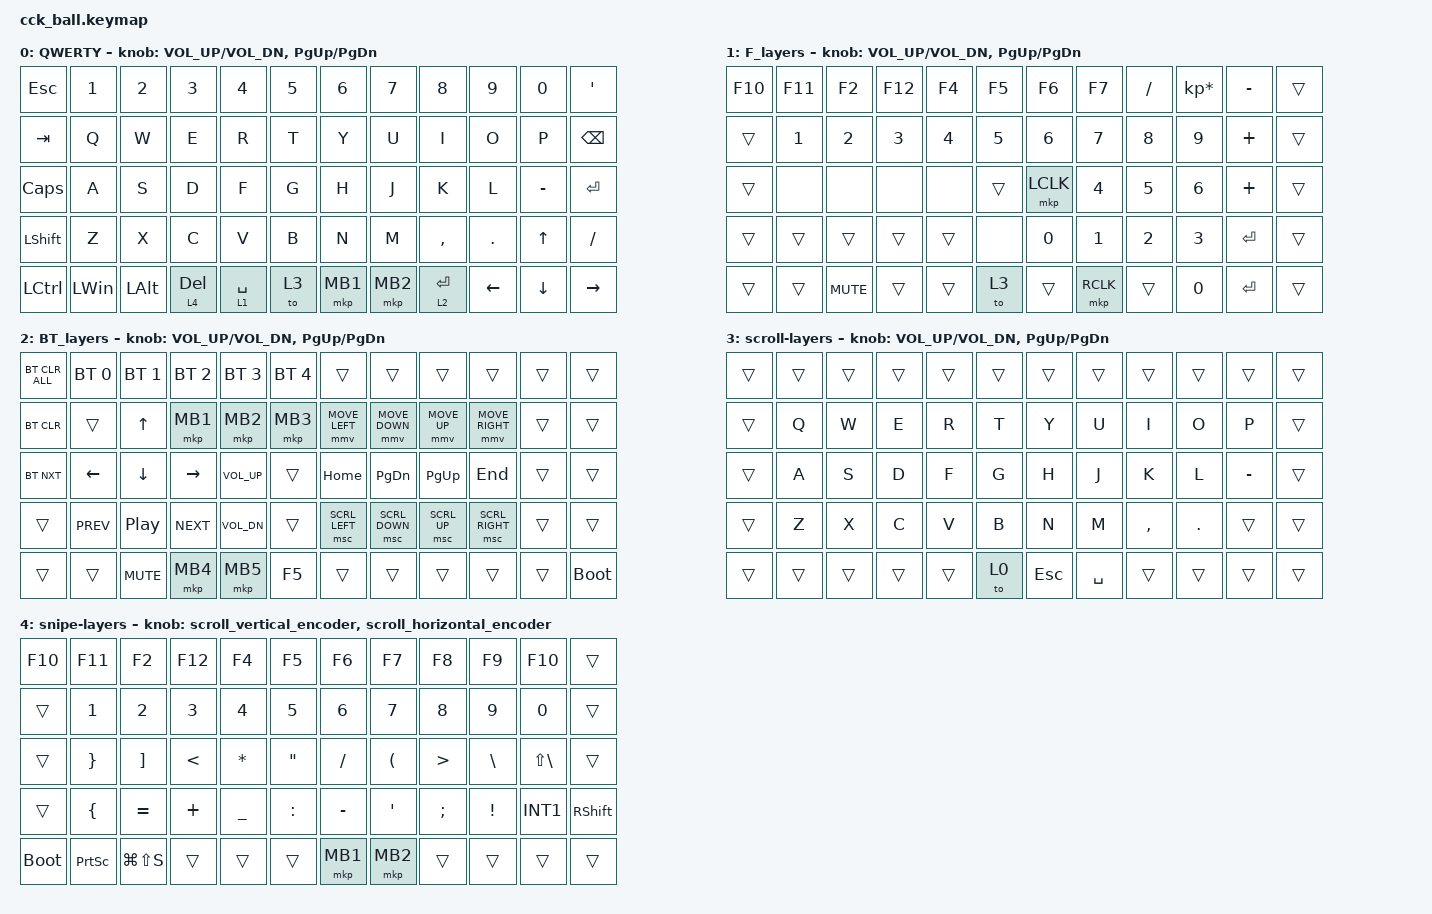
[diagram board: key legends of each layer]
#define ZMK_POINTING_DEFAULT_MOVE_VAL 1000 // 600
#define ZMK_POINTING_DEFAULT_SCRL_VAL 12   // 10

#include <input/processors.dtsi>
#include <zephyr/dt-bindings/input/input-event-codes.h>
#include <behaviors.dtsi>
#include <dt-bindings/zmk/bt.h>
#include <dt-bindings/zmk/keys.h>
#include <dt-bindings/zmk/pointing.h>

&mmv_input_listener { input-processors = <&zip_xy_scaler 2 1>; };

&msc_input_listener { input-processors = <&zip_scroll_scaler 2 1>; };

&msc {
    acceleration-exponent = <0>;      // 0
    time-to-max-speed-ms = <300>;       // 300
    delay-ms = <0>;                   // 0
};

&mmv {
    time-to-max-speed-ms = <500>;
    acceleration-exponent = <1>;
    trigger-period-ms = <16>;
};

&soft_off { hold-time-ms = <2000>; };

/ {
    // 上下滚动编码器行为
    scroll_vertical_encoder: scroll_vertical_encoder {
        compatible = "zmk,behavior-sensor-rotate";
        #sensor-binding-cells = <0>;
        bindings = <&msc SCRL_DOWN>, <&msc SCRL_UP>;
        tap-ms = <100>;
    };

    // 左右滚动编码器行为
    scroll_horizontal_encoder: scroll_horizontal_encoder {
        compatible = "zmk,behavior-sensor-rotate";
        #sensor-binding-cells = <0>;
        bindings = <&msc SCRL_LEFT>, <&msc SCRL_RIGHT>;
        tap-ms = <100>;
    };
    
    behaviors {
    };

    keymap {
        compatible = "zmk,keymap";

        QWERTY {
            bindings = <
&kp ESC           &kp N1        &kp N2        &kp N3      &kp N4     &kp N5  &kp N6  &kp N7     &kp N8     &kp N9          &kp N0          &kp SQT
&kp TAB           &kp Q         &kp W         &kp E       &kp R      &kp T   &kp Y   &kp U      &kp I      &kp O           &kp P           &kp BACKSPACE
&kp CAPSLOCK      &kp A         &kp S         &kp D       &kp F      &kp G   &kp H   &kp J      &kp K      &kp L           &kp MINUS       &kp RETURN
&kp LEFT_SHIFT    &kp Z         &kp X         &kp C       &kp V      &kp B   &kp N   &kp M      &kp COMMA  &kp DOT         &kp UP_ARROW        &kp FSLH
&kp LEFT_CONTROL  &kp LEFT_WIN  &kp LEFT_ALT  &lt 4 DELETE  &lt 1 SPACE  &to 3   &mkp MB1   &mkp MB2  &lt 2 RETURN  &kp LEFT_ARROW  &kp DOWN_ARROW  &kp RIGHT_ARROW
            >;

            sensor-bindings = <&inc_dec_kp C_VOL_UP C_VOL_DN &inc_dec_kp PG_UP PG_DN>;
        };

        F_layers {
            bindings = <
&kp F10  &kp F11  &kp F2  &kp F12  &kp F4  &kp F5  &kp F6     &kp F7     &kp FSLH  &kp KP_MULTIPLY  &kp MINUS  &trans
&trans   &kp N1   &kp N2   &kp N3   &kp N4   &kp N5  &kp N6      &kp N7      &kp N8   &kp N9  &kp PLUS   &trans
&trans   &none   &none   &none   &none   &trans  &mkp LCLK  &kp N4  &kp N5  &kp N6  &kp PLUS   &trans
&trans   &trans  &trans  &trans  &trans  &none   &kp N0      &kp N1      &kp N2  &kp N3  &kp RETURN    &trans
&trans   &trans  &kp C_MUTE  &trans  &trans  &to 3  &trans  &mkp RCLK  &trans  &kp N0  &kp RETURN   &trans
            >;

            sensor-bindings = <&inc_dec_kp C_VOL_UP C_VOL_DN &inc_dec_kp PG_UP PG_DN>;
        };

        BT_layers {
            bindings = <
&bt BT_CLR_ALL  &bt BT_SEL 0    &bt BT_SEL 1  &bt BT_SEL 2  &bt BT_SEL 3  &bt BT_SEL 4  &trans      &trans  &trans  &trans  &trans  &trans
&bt BT_CLR  &trans          &kp UP        &mkp MB1        &mkp MB2        &mkp MB3        &mmv MOVE_LEFT      &mmv MOVE_DOWN  &mmv MOVE_UP  &mmv MOVE_RIGHT  &trans  &trans
&bt BT_NXT  &kp LEFT  &kp DOWN        &kp RIGHT        &kp C_VOL_UP        &trans        &kp HOME      &kp PG_DN  &kp PG_UP  &kp END  &trans  &trans
&trans  &kp C_PREV          &kp C_PP        &kp C_NEXT    &kp C_VOL_DN        &trans        &msc SCRL_LEFT  &msc SCRL_DOWN  &msc SCRL_UP  &msc SCRL_RIGHT  &trans  &trans
&trans  &trans          &kp C_MUTE        &mkp MB4        &mkp MB5        &kp F5        &trans      &trans  &trans  &trans  &trans  &bootloader
            >;

            sensor-bindings = <&inc_dec_kp C_VOL_UP C_VOL_DN &inc_dec_kp PG_UP PG_DN>;
        };

        scroll-layers {
            bindings = <
&trans  &trans  &trans  &trans  &trans  &trans  &trans  &trans  &trans  &trans  &trans  &trans
&trans  &kp Q  &kp W  &kp E  &kp R  &kp T  &kp Y  &kp U  &kp I  &kp O  &kp P  &trans
&trans  &kp A  &kp S  &kp D  &kp F  &kp G  &kp H  &kp J  &kp K  &kp L  &kp MINUS  &trans
&trans  &kp Z  &kp X  &kp C  &kp V  &kp B  &kp N  &kp M  &kp COMMA  &kp DOT  &trans  &trans
&trans  &trans  &trans  &trans  &trans  &to 0  &kp ESC  &kp SPACE  &trans  &trans  &trans  &trans
            >;

            sensor-bindings = <&inc_dec_kp C_VOL_UP C_VOL_DN &inc_dec_kp PG_UP PG_DN>;
        };

        snipe-layers {
            bindings = <
&kp F10  &kp F11  &kp F2  &kp F12  &kp F4  &kp F5  &kp F6  &kp F7  &kp F8  &kp F9  &kp F10  &trans
&trans  &kp N1  &kp N2  &kp N3  &kp N4  &kp N5  &kp N6  &kp N7  &kp N8  &kp N9  &kp N0  &trans
&trans  &kp RBRC  &kp RBKT  &kp LT  &kp STAR  &kp DQT  &kp FSLH  &kp LPAR  &kp GT  &kp BSLH  &kp LS(BSLH)  &trans
&trans  &kp LBRC  &kp EQUAL  &kp PLUS  &kp UNDER  &kp COLON  &kp MINUS  &kp SQT  &kp SEMI  &kp EXCL  &kp INT1  &kp RSHIFT
&bootloader  &kp PSCRN  &kp LG(LS(S))  &trans  &trans  &trans  &mkp MB1  &mkp MB2  &trans  &trans  &trans  &trans
            >;

            sensor-bindings = <&scroll_vertical_encoder>,   // 编码器1：上下滚动
                             <&scroll_horizontal_encoder>;  // 编码器2：左右滚动
        };
    };
};
 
